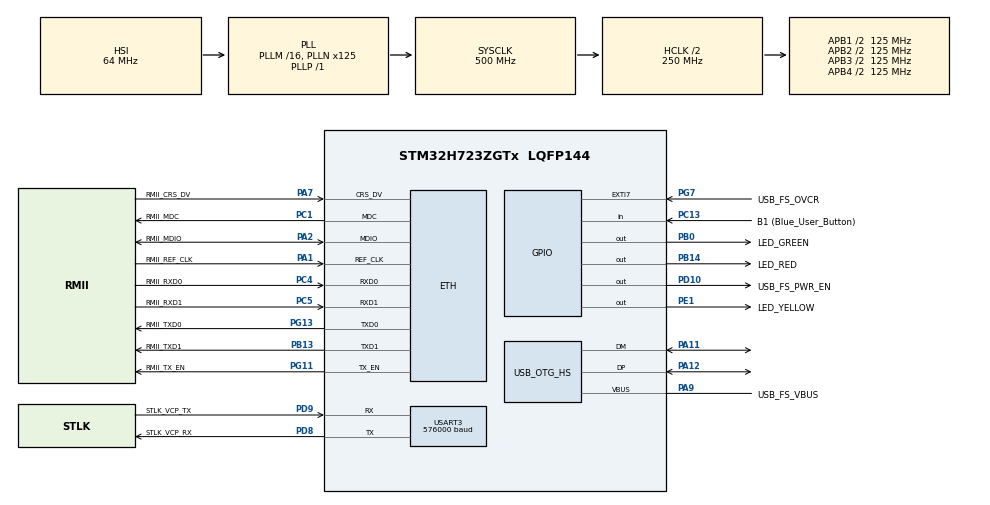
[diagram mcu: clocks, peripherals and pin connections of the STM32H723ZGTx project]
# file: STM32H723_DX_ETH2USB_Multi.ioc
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CORTEX_M7.AccessPermission_S-Cortex_Memory_Protection_Unit_Region1_Settings_S=MPU_REGION_FULL_ACCESS
CORTEX_M7.AccessPermission_S-Cortex_Memory_Protection_Unit_Region2_Settings_S=MPU_REGION_FULL_ACCESS
CORTEX_M7.BaseAddress_S-Cortex_Memory_Protection_Unit_Region1_Settings_S=0x30000000
CORTEX_M7.BaseAddress_S-Cortex_Memory_Protection_Unit_Region2_Settings_S=0x30000000
CORTEX_M7.CPU_DCache=Enabled
CORTEX_M7.CPU_ICache=Enabled
CORTEX_M7.DisableExec_S-Cortex_Memory_Protection_Unit_Region1_Settings_S=MPU_INSTRUCTION_ACCESS_DISABLE
CORTEX_M7.DisableExec_S-Cortex_Memory_Protection_Unit_Region2_Settings_S=MPU_INSTRUCTION_ACCESS_DISABLE
CORTEX_M7.Enable_S-Cortex_Memory_Protection_Unit_Region1_Settings_S=MPU_REGION_ENABLE
CORTEX_M7.Enable_S-Cortex_Memory_Protection_Unit_Region2_Settings_S=MPU_REGION_ENABLE
CORTEX_M7.IsBufferable_S-Cortex_Memory_Protection_Unit_Region2_Settings_S=MPU_ACCESS_BUFFERABLE
CORTEX_M7.IsShareable_S-Cortex_Memory_Protection_Unit_Region2_Settings_S=MPU_ACCESS_SHAREABLE
CORTEX_M7.Size_S-Cortex_Memory_Protection_Unit_Region1_Settings_S=MPU_REGION_SIZE_32KB
CORTEX_M7.Size_S-Cortex_Memory_Protection_Unit_Region2_Settings_S=MPU_REGION_SIZE_512B
CORTEX_M7.TypeExtField_S-Cortex_Memory_Protection_Unit_Region1_Settings_S=MPU_TEX_LEVEL1
CORTEX_M7.default_mode_Activation=1
ETH.MediaInterface=HAL_ETH_RMII_MODE
ETH.RxBuffAddress=0x30000200
ETH.RxBuffLen=1536
ETH.TxDescAddress=0x30000100
FREERTOS.Tasks01=defaultTask,24,512,StartDefaultTask,Default,NULL,Dynamic,NULL,NULL
FREERTOS.configCHECK_FOR_STACK_OVERFLOW=1
FREERTOS.configMINIMAL_STACK_SIZE=512
FREERTOS.configTOTAL_HEAP_SIZE=30*1024
FREERTOS.configUSE_NEWLIB_REENTRANT=1
LWIP.BSP.number=1
LWIP.DEFAULT_THREAD_STACKSIZE=2048
LWIP.IP_ADDRESS=192.168.001.080
LWIP.LWIP_DHCP=0
LWIP.LWIP_FIONREAD_LINUXMODE=0
LWIP.LWIP_RAM_HEAP_POINTER=0x30000200
LWIP.LWIP_SO_RCVBUF=0
LWIP.LWIP_SO_RCVTIMEO=1
LWIP.MEM_SIZE=32232
LWIP.NETMASK_ADDRESS=255.255.255.000
LWIP.TCPIP_THREAD_STACKSIZE=2048
LWIP.TCP_MSS=1460
LWIP.TCP_SND_BUF=5840
LWIP.TCP_SND_QUEUELEN=16
LWIP.Version=v2.1.2_Cube
LWIP0.BSP.STBoard=false
LWIP0.BSP.api=BSP_COMPONENT_DRIVER
LWIP0.BSP.component=LAN8742
LWIP0.BSP.instance=LAN8742
LWIP0.BSP.name=Driver_PHY
LWIP0.BSP.semaphore=S_LAN8742
LWIP0.BSP.solution=LAN8742
Mcu.Family=STM32H7
Mcu.Name=STM32H723ZGTx
Mcu.Package=LQFP144
NVIC.ETH_IRQn=true\:5\:0\:false\:false\:true\:true\:true\:true\:true
NVIC.OTG_HS_IRQn=true\:5\:0\:false\:false\:true\:true\:false\:true\:true
NVIC.PriorityGroup=NVIC_PRIORITYGROUP_4
NVIC.TIM6_DAC_IRQn=true\:15\:0\:false\:false\:true\:false\:false\:true\:true
NVIC.TimeBase=TIM6_DAC_IRQn
NVIC.TimeBaseIP=TIM6
NVIC.USART3_IRQn=true\:5\:0\:false\:false\:true\:true\:true\:true\:true
PA1.GPIO_Label=RMII_REF_CLK
PA1.GPIO_Speed=GPIO_SPEED_FREQ_VERY_HIGH
PA1.Mode=RMII
PA1.Signal=ETH_REF_CLK
PA10.GPIO_Label=USB_FS_ID
PA10.Signal=USB_OTG_HS_ID
PA11.Mode=Host_FS
PA11.Signal=USB_OTG_HS_DM
PA12.Mode=Host_FS
PA12.Signal=USB_OTG_HS_DP
PA13(JTMS/SWDIO).GPIO_Label=SWDIO
PA13(JTMS/SWDIO).Signal=DEBUG_JTMS-SWDIO
PA14(JTCK/SWCLK).GPIO_Label=SWCLK
PA14(JTCK/SWCLK).Signal=DEBUG_JTCK-SWCLK
PA2.GPIO_Label=RMII_MDIO
PA2.GPIO_Speed=GPIO_SPEED_FREQ_VERY_HIGH
PA2.Mode=RMII
PA2.Signal=ETH_MDIO
PA7.GPIO_Label=RMII_CRS_DV
PA7.GPIO_Speed=GPIO_SPEED_FREQ_VERY_HIGH
PA7.Mode=RMII
PA7.Signal=ETH_CRS_DV
PA9.GPIO_Label=USB_FS_VBUS
PA9.Mode=Activate_VBUS_FS
PA9.Signal=USB_OTG_HS_VBUS
PB0.GPIO_Label=LED_GREEN
PB0.PinState=GPIO_PIN_RESET
PB0.Signal=GPIO_Output
PB13.GPIO_Label=RMII_TXD1
PB13.GPIO_Speed=GPIO_SPEED_FREQ_VERY_HIGH
PB13.Mode=RMII
PB13.Signal=ETH_TXD1
PB14.GPIO_Label=LED_RED
PB14.Signal=GPIO_Output
PB3(JTDO/TRACESWO).GPIO_Label=SWO
PB3(JTDO/TRACESWO).Signal=DEBUG_JTDO-SWO
PC1.GPIO_Label=RMII_MDC
PC1.GPIO_Speed=GPIO_SPEED_FREQ_VERY_HIGH
PC1.Mode=RMII
PC1.Signal=ETH_MDC
PC13.GPIO_Label=B1 (Blue_User_Button)
PC13.Signal=GPIO_Input
PC14-OSC32_IN.Signal=RCC_OSC32_IN
PC15-OSC32_OUT.Signal=RCC_OSC32_OUT
PC4.GPIO_Label=RMII_RXD0
PC4.GPIO_Speed=GPIO_SPEED_FREQ_VERY_HIGH
PC4.Mode=RMII
PC4.Signal=ETH_RXD0
PC5.GPIO_Label=RMII_RXD1
PC5.GPIO_Speed=GPIO_SPEED_FREQ_VERY_HIGH
PC5.Mode=RMII
PC5.Signal=ETH_RXD1
PD10.GPIO_Label=USB_FS_PWR_EN
PD10.Signal=GPIO_Output
PD8.GPIO_Label=STLK_VCP_RX
PD8.Mode=Asynchronous
PD8.Signal=USART3_TX
PD9.GPIO_Label=STLK_VCP_TX
PD9.Mode=Asynchronous
PD9.Signal=USART3_RX
PE1.GPIO_Label=LED_YELLOW
PE1.Signal=GPIO_Output
PG11.GPIO_Label=RMII_TX_EN
PG11.GPIO_Speed=GPIO_SPEED_FREQ_VERY_HIGH
PG11.Mode=RMII
PG11.Signal=ETH_TX_EN
PG13.GPIO_Label=RMII_TXD0
PG13.GPIO_Speed=GPIO_SPEED_FREQ_VERY_HIGH
PG13.Mode=RMII
PG13.Signal=ETH_TXD0
PG7.GPIO_Label=USB_FS_OVCR
PG7.Signal=GPXTI7
PH0-OSC_IN.GPIO_Label=MCO
PH0-OSC_IN.Signal=RCC_OSC_IN
PH1-OSC_OUT.Signal=RCC_OSC_OUT
ProjectManager.HeapSize=0x200
ProjectManager.StackSize=0x400
ProjectManager.TargetToolchain=STM32CubeIDE
RCC.ADCFreq_Value=608000000
RCC.APB1Freq_Value=125000000
RCC.APB2Freq_Value=125000000
RCC.APB3Freq_Value=125000000
RCC.APB4Freq_Value=125000000
RCC.CortexFreq_Value=500000000
RCC.D1PPRE=RCC_APB3_DIV2
RCC.D2PPRE1=RCC_APB1_DIV2
RCC.D2PPRE2=RCC_APB2_DIV2
RCC.D3PPRE=RCC_APB4_DIV2
RCC.DIVM1=16
RCC.DIVM2=1
RCC.DIVN1=125
RCC.DIVN2=19
RCC.DIVP1=1
RCC.DIVQ1=4
RCC.HCLKFreq_Value=250000000
RCC.HPRE=RCC_HCLK_DIV2
RCC.HSE_VALUE=8000000
RCC.PLLFRACN=0
RCC.SYSCLKFreq_VALUE=500000000
RCC.SYSCLKSource=RCC_SYSCLKSOURCE_PLLCLK
RCC.USBCLockSelection=RCC_USBCLKSOURCE_HSI48
RCC.USBFreq_Value=48000000
RTC.Format=RTC_FORMAT_BIN
USART3.BaudRate=576000
USART3.VirtualMode-Asynchronous=VM_ASYNC
USB_HOST.USBH_HandleTypeDef=hUsbHostHS
USB_HOST.VirtualModeHS=All_Classes
USB_OTG_HS.VirtualMode-Host_FS=Host_FS
VP_FREERTOS_VS_CMSIS_V2.Mode=CMSIS_V2
VP_LWIP_VS_Enabled.Mode=Enabled
VP_RTC_VS_RTC_Activate.Mode=RTC_Enabled
VP_RTC_VS_RTC_Calendar.Mode=RTC_Calendar
VP_SYS_VS_tim6.Mode=TIM6
VP_USB_HOST_VS_USB_HOST_ALL_CLASS_HS.Mode=ALL_Classes_HS
board=NUCLEO-H723ZG

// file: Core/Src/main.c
/* USER CODE BEGIN Header */
/**
 ******************************************************************************
 * @file           : main.c
 * @brief          : Main program body
 ******************************************************************************
 * @attention
 *
 * Copyright (c) 2022 STMicroelectronics.
 * All rights reserved.
 *
 * This software is licensed under terms that can be found in the LICENSE file
 * in the root directory of this software component.
 * If no LICENSE file comes with this software, it is provided AS-IS.
 *
 ******************************************************************************
 */
/* USER CODE END Header */
#include "main.h"
#include "cmsis_os.h"
#include "lwip.h"
#include "usb_host.h"

/* USER CODE BEGIN Includes */
/* ETH_CODE: add lwiperf, see comment in StartDefaultTask function */
#include "logging.h"
#include "dx/eth2usb/app.h"
/* USER CODE END Includes */

RTC_HandleTypeDef hrtc;

UART_HandleTypeDef huart3;

/* Definitions for defaultTask */
osThreadId_t defaultTaskHandle;
const osThreadAttr_t defaultTask_attributes = {
  .name = "defaultTask",
  .stack_size = 512 * 4,
  .priority = (osPriority_t) osPriorityNormal,
};
/* USER CODE BEGIN PV */
DX_ETH2USB_AppState_t g_app_state;
/* USER CODE END PV */

void SystemClock_Config(void);
static void MPU_Initialize(void);
static void MPU_Config(void);
static void MX_GPIO_Init(void);
static void MX_USART3_UART_Init(void);
static void MX_RTC_Init(void);
void StartDefaultTask(void *argument);

/* USER CODE BEGIN PFP */
void HAL_UART_TxCpltCallback(UART_HandleTypeDef *huart) {
//	if (huart == &huart2) {
//		fn_uart_com_tx_complete_isr_handler(&uart_com_state);
//
//		return;
//	}
}

void HAL_UART_RxCpltCallback(UART_HandleTypeDef *huart) {
//	if (huart == &huart2) {
//		fn_uart_com_rx_isr_handler(&uart_com_state);
//
//		return;
//	}
}
/* USER CODE END PFP */

/* USER CODE BEGIN 0 */
int __io_putchar(int value) {
	HAL_StatusTypeDef hal_status = HAL_OK;

	while((hal_status = HAL_UART_Transmit(&huart3, (uint8_t*) &value, sizeof(char),
			0xFFFF)) == HAL_BUSY);

	if (hal_status != HAL_OK) {
		Error_Handler();
	}

	return value;
}
/* USER CODE END 0 */

int main(void)
{

  /* Enable I-Cache---------------------------------------------------------*/
  SCB_EnableICache();

  /* Enable D-Cache---------------------------------------------------------*/
  SCB_EnableDCache();

  /* MCU Configuration--------------------------------------------------------*/

  /* Reset of all peripherals, Initializes the Flash interface and the Systick. */
  HAL_Init();

  /* MPU Configuration--------------------------------------------------------*/
  MPU_Config();

  /* Configure the system clock */
  SystemClock_Config();

  /* Initialize all configured peripherals */
  MX_GPIO_Init();
  MX_USART3_UART_Init();
  MX_RTC_Init();

  /* Init scheduler */
  osKernelInitialize();

  /* Create the thread(s) */
  /* creation of defaultTask */
  defaultTaskHandle = osThreadNew(StartDefaultTask, NULL, &defaultTask_attributes);

  /* Start scheduler */
  osKernelStart();

  /* We should never get here as control is now taken by the scheduler */
  /* Infinite loop */
	while (1) {

	}
}

void SystemClock_Config(void)
{
  RCC_OscInitTypeDef RCC_OscInitStruct = {0};
  RCC_ClkInitTypeDef RCC_ClkInitStruct = {0};

  /** Supply configuration update enable
  */
  HAL_PWREx_ConfigSupply(PWR_LDO_SUPPLY);

  /** Configure the main internal regulator output voltage
  */
  __HAL_PWR_VOLTAGESCALING_CONFIG(PWR_REGULATOR_VOLTAGE_SCALE0);

  while(!__HAL_PWR_GET_FLAG(PWR_FLAG_VOSRDY)) {}

  /** Initializes the RCC Oscillators according to the specified parameters
  * in the RCC_OscInitTypeDef structure.
  */
  RCC_OscInitStruct.OscillatorType = RCC_OSCILLATORTYPE_HSI48|RCC_OSCILLATORTYPE_HSI
                              |RCC_OSCILLATORTYPE_LSI;
  RCC_OscInitStruct.HSIState = RCC_HSI_DIV1;
  RCC_OscInitStruct.HSICalibrationValue = 64;
  RCC_OscInitStruct.LSIState = RCC_LSI_ON;
  RCC_OscInitStruct.HSI48State = RCC_HSI48_ON;
  RCC_OscInitStruct.PLL.PLLState = RCC_PLL_ON;
  RCC_OscInitStruct.PLL.PLLSource = RCC_PLLSOURCE_HSI;
  RCC_OscInitStruct.PLL.PLLM = 16;
  RCC_OscInitStruct.PLL.PLLN = 125;
  RCC_OscInitStruct.PLL.PLLP = 1;
  RCC_OscInitStruct.PLL.PLLQ = 4;
  RCC_OscInitStruct.PLL.PLLR = 2;
  RCC_OscInitStruct.PLL.PLLRGE = RCC_PLL1VCIRANGE_2;
  RCC_OscInitStruct.PLL.PLLVCOSEL = RCC_PLL1VCOWIDE;
  RCC_OscInitStruct.PLL.PLLFRACN = 0;
  if (HAL_RCC_OscConfig(&RCC_OscInitStruct) != HAL_OK)
  {
    Error_Handler();
  }

  /** Initializes the CPU, AHB and APB buses clocks
  */
  RCC_ClkInitStruct.ClockType = RCC_CLOCKTYPE_HCLK|RCC_CLOCKTYPE_SYSCLK
                              |RCC_CLOCKTYPE_PCLK1|RCC_CLOCKTYPE_PCLK2
                              |RCC_CLOCKTYPE_D3PCLK1|RCC_CLOCKTYPE_D1PCLK1;
  RCC_ClkInitStruct.SYSCLKSource = RCC_SYSCLKSOURCE_PLLCLK;
  RCC_ClkInitStruct.SYSCLKDivider = RCC_SYSCLK_DIV1;
  RCC_ClkInitStruct.AHBCLKDivider = RCC_HCLK_DIV2;
  RCC_ClkInitStruct.APB3CLKDivider = RCC_APB3_DIV2;
  RCC_ClkInitStruct.APB1CLKDivider = RCC_APB1_DIV2;
  RCC_ClkInitStruct.APB2CLKDivider = RCC_APB2_DIV2;
  RCC_ClkInitStruct.APB4CLKDivider = RCC_APB4_DIV2;

  if (HAL_RCC_ClockConfig(&RCC_ClkInitStruct, FLASH_LATENCY_3) != HAL_OK)
  {
    Error_Handler();
  }
}

static void MX_RTC_Init(void)
{

  RTC_TimeTypeDef sTime = {0};
  RTC_DateTypeDef sDate = {0};

  /** Initialize RTC Only
  */
  hrtc.Instance = RTC;
  hrtc.Init.HourFormat = RTC_HOURFORMAT_24;
  hrtc.Init.AsynchPrediv = 127;
  hrtc.Init.SynchPrediv = 255;
  hrtc.Init.OutPut = RTC_OUTPUT_DISABLE;
  hrtc.Init.OutPutPolarity = RTC_OUTPUT_POLARITY_HIGH;
  hrtc.Init.OutPutType = RTC_OUTPUT_TYPE_OPENDRAIN;
  hrtc.Init.OutPutRemap = RTC_OUTPUT_REMAP_NONE;
  if (HAL_RTC_Init(&hrtc) != HAL_OK)
  {
    Error_Handler();
  }

  /** Initialize RTC and set the Time and Date
  */
  sTime.Hours = 0;
  sTime.Minutes = 0;
  sTime.Seconds = 0;
  sTime.DayLightSaving = RTC_DAYLIGHTSAVING_NONE;
  sTime.StoreOperation = RTC_STOREOPERATION_RESET;
  if (HAL_RTC_SetTime(&hrtc, &sTime, RTC_FORMAT_BIN) != HAL_OK)
  {
    Error_Handler();
  }
  sDate.WeekDay = RTC_WEEKDAY_MONDAY;
  sDate.Month = RTC_MONTH_JANUARY;
  sDate.Date = 1;
  sDate.Year = 0;

  if (HAL_RTC_SetDate(&hrtc, &sDate, RTC_FORMAT_BIN) != HAL_OK)
  {
    Error_Handler();
  }

}

static void MX_USART3_UART_Init(void)
{

  huart3.Instance = USART3;
  huart3.Init.BaudRate = 576000;
  huart3.Init.WordLength = UART_WORDLENGTH_8B;
  huart3.Init.StopBits = UART_STOPBITS_1;
  huart3.Init.Parity = UART_PARITY_NONE;
  huart3.Init.Mode = UART_MODE_TX_RX;
  huart3.Init.HwFlowCtl = UART_HWCONTROL_NONE;
  huart3.Init.OverSampling = UART_OVERSAMPLING_16;
  huart3.Init.OneBitSampling = UART_ONE_BIT_SAMPLE_DISABLE;
  huart3.Init.ClockPrescaler = UART_PRESCALER_DIV1;
  huart3.AdvancedInit.AdvFeatureInit = UART_ADVFEATURE_NO_INIT;
  if (HAL_UART_Init(&huart3) != HAL_OK)
  {
    Error_Handler();
  }
  if (HAL_UARTEx_SetTxFifoThreshold(&huart3, UART_TXFIFO_THRESHOLD_1_8) != HAL_OK)
  {
    Error_Handler();
  }
  if (HAL_UARTEx_SetRxFifoThreshold(&huart3, UART_RXFIFO_THRESHOLD_1_8) != HAL_OK)
  {
    Error_Handler();
  }
  if (HAL_UARTEx_DisableFifoMode(&huart3) != HAL_OK)
  {
    Error_Handler();
  }

}

static void MX_GPIO_Init(void)
{
  GPIO_InitTypeDef GPIO_InitStruct = {0};

  /* GPIO Ports Clock Enable */
  __HAL_RCC_GPIOC_CLK_ENABLE();
  __HAL_RCC_GPIOH_CLK_ENABLE();
  __HAL_RCC_GPIOA_CLK_ENABLE();
  __HAL_RCC_GPIOB_CLK_ENABLE();
  __HAL_RCC_GPIOD_CLK_ENABLE();
  __HAL_RCC_GPIOG_CLK_ENABLE();
  __HAL_RCC_GPIOE_CLK_ENABLE();

  /*Configure GPIO pin Output Level */
  HAL_GPIO_WritePin(GPIOB, LED_GREEN_Pin|LED_RED_Pin, GPIO_PIN_RESET);

  /*Configure GPIO pin Output Level */
  HAL_GPIO_WritePin(USB_FS_PWR_EN_GPIO_Port, USB_FS_PWR_EN_Pin, GPIO_PIN_RESET);

  /*Configure GPIO pin Output Level */
  HAL_GPIO_WritePin(LED_YELLOW_GPIO_Port, LED_YELLOW_Pin, GPIO_PIN_RESET);

  /*Configure GPIO pin : B1_Pin */
  GPIO_InitStruct.Pin = B1_Pin;
  GPIO_InitStruct.Mode = GPIO_MODE_INPUT;
  GPIO_InitStruct.Pull = GPIO_NOPULL;
  HAL_GPIO_Init(B1_GPIO_Port, &GPIO_InitStruct);

  /*Configure GPIO pins : LED_GREEN_Pin LED_RED_Pin */
  GPIO_InitStruct.Pin = LED_GREEN_Pin|LED_RED_Pin;
  GPIO_InitStruct.Mode = GPIO_MODE_OUTPUT_PP;
  GPIO_InitStruct.Pull = GPIO_NOPULL;
  GPIO_InitStruct.Speed = GPIO_SPEED_FREQ_LOW;
  HAL_GPIO_Init(GPIOB, &GPIO_InitStruct);

  /*Configure GPIO pin : USB_FS_PWR_EN_Pin */
  GPIO_InitStruct.Pin = USB_FS_PWR_EN_Pin;
  GPIO_InitStruct.Mode = GPIO_MODE_OUTPUT_PP;
  GPIO_InitStruct.Pull = GPIO_NOPULL;
  GPIO_InitStruct.Speed = GPIO_SPEED_FREQ_LOW;
  HAL_GPIO_Init(USB_FS_PWR_EN_GPIO_Port, &GPIO_InitStruct);

  /*Configure GPIO pin : USB_FS_OVCR_Pin */
  GPIO_InitStruct.Pin = USB_FS_OVCR_Pin;
  GPIO_InitStruct.Mode = GPIO_MODE_IT_RISING;
  GPIO_InitStruct.Pull = GPIO_NOPULL;
  HAL_GPIO_Init(USB_FS_OVCR_GPIO_Port, &GPIO_InitStruct);

  /*Configure GPIO pin : LED_YELLOW_Pin */
  GPIO_InitStruct.Pin = LED_YELLOW_Pin;
  GPIO_InitStruct.Mode = GPIO_MODE_OUTPUT_PP;
  GPIO_InitStruct.Pull = GPIO_NOPULL;
  GPIO_InitStruct.Speed = GPIO_SPEED_FREQ_LOW;
  HAL_GPIO_Init(LED_YELLOW_GPIO_Port, &GPIO_InitStruct);

}

void StartDefaultTask(void *argument)
{
  /* init code for LWIP */
  MX_LWIP_Init();

  /* init code for USB_HOST */
  MX_USB_HOST_Init();
  /* USER CODE BEGIN 5 */

  DX_ETH2USB_App_Init(&g_app_state);
  DX_ETH2USB_App_Start(&g_app_state);

	/* Infinite loop */
	for (;;) {
		osDelay(200);
	}
  /* USER CODE END 5 */
}

/* MPU Configuration */

void MPU_Config(void)
{
  MPU_Region_InitTypeDef MPU_InitStruct = {0};

  /* Disables the MPU */
  HAL_MPU_Disable();

  /** Initializes and configures the Region and the memory to be protected
  */
  MPU_InitStruct.Enable = MPU_REGION_ENABLE;
  MPU_InitStruct.Number = MPU_REGION_NUMBER0;
  MPU_InitStruct.BaseAddress = 0x0;
  MPU_InitStruct.Size = MPU_REGION_SIZE_4GB;
  MPU_InitStruct.SubRegionDisable = 0x87;
  MPU_InitStruct.TypeExtField = MPU_TEX_LEVEL0;
  MPU_InitStruct.AccessPermission = MPU_REGION_NO_ACCESS;
  MPU_InitStruct.DisableExec = MPU_INSTRUCTION_ACCESS_DISABLE;
  MPU_InitStruct.IsShareable = MPU_ACCESS_SHAREABLE;
  MPU_InitStruct.IsCacheable = MPU_ACCESS_NOT_CACHEABLE;
  MPU_InitStruct.IsBufferable = MPU_ACCESS_NOT_BUFFERABLE;

  HAL_MPU_ConfigRegion(&MPU_InitStruct);

  /** Initializes and configures the Region and the memory to be protected
  */
  MPU_InitStruct.Number = MPU_REGION_NUMBER1;
  MPU_InitStruct.BaseAddress = 0x30000000;
  MPU_InitStruct.Size = MPU_REGION_SIZE_32KB;
  MPU_InitStruct.SubRegionDisable = 0x0;
  MPU_InitStruct.TypeExtField = MPU_TEX_LEVEL1;
  MPU_InitStruct.AccessPermission = MPU_REGION_FULL_ACCESS;
  MPU_InitStruct.IsShareable = MPU_ACCESS_NOT_SHAREABLE;

  HAL_MPU_ConfigRegion(&MPU_InitStruct);

  /** Initializes and configures the Region and the memory to be protected
  */
  MPU_InitStruct.Number = MPU_REGION_NUMBER2;
  MPU_InitStruct.Size = MPU_REGION_SIZE_512B;
  MPU_InitStruct.TypeExtField = MPU_TEX_LEVEL0;
  MPU_InitStruct.IsShareable = MPU_ACCESS_SHAREABLE;
  MPU_InitStruct.IsBufferable = MPU_ACCESS_BUFFERABLE;

  HAL_MPU_ConfigRegion(&MPU_InitStruct);
  /* Enables the MPU */
  HAL_MPU_Enable(MPU_PRIVILEGED_DEFAULT);

}

void HAL_TIM_PeriodElapsedCallback(TIM_HandleTypeDef *htim)
{
  if (htim->Instance == TIM6) {
    HAL_IncTick();
  }
}

void Error_Handler(void)
{
  /* USER CODE BEGIN Error_Handler_Debug */
	/* User can add his own implementation to report the HAL error return state */
	printf("Error occurred!\r\n");

	/* User can add his own implementation to report the HAL error return state */
	__disable_irq();
	while (1) {
		// Blinks the red led. We're using loops and the no-operation instruction
		//  because the HAL_Delay won't work here since it depends on interrupts.
		//  Which have been disabled.
		HAL_GPIO_WritePin(LED_RED_GPIO_Port, LED_RED_Pin, GPIO_PIN_SET);
		for (uint32_t i = 0; i < 50 * 1000 * 1000; ++i)
			__asm ("nop\n\t");
		HAL_GPIO_WritePin(LED_RED_GPIO_Port, LED_RED_Pin, GPIO_PIN_RESET);
		for (uint32_t i = 0; i < 50 * 1000 * 1000; ++i)
			__asm ("nop\n\t");
	}
  /* USER CODE END Error_Handler_Debug */
}
